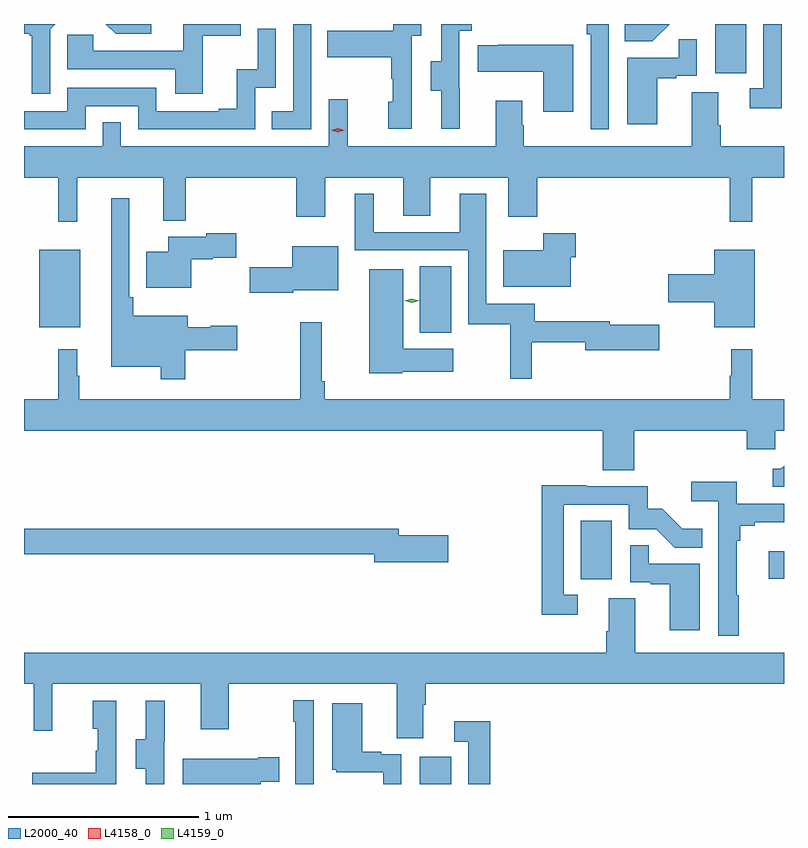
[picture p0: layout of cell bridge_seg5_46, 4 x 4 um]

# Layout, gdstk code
import gdstk
lib = gdstk.Library(unit=1e-6, precision=1e-09)
def R(c, l, rs):  # rectangles x0, y0, x1, y1
    for r in rs: c.add(gdstk.rectangle(r[:2], r[2:], *l))
def P(c, l, *ps):  # polygons
    for p in ps: c.add(gdstk.Polygon(p, *l))
L2000_40 = (2000, 40)
L4158_0 = (4158, 0)
L4159_0 = (4159, 0)

bridge_seg5_46 = lib.new_cell('bridge_seg5_46')
R(bridge_seg5_46, L2000_40, [(855.338,842.912,855.502,843.055), (856.184,843.99,856.348,844.297), (857.175,843.991,857.254,844.138), (855.338,845.288,855.502,845.636), (853.334,845.315,853.549,845.725), (856.892,846.654,857.056,846.912)])
P(bridge_seg5_46, L2000_40, [(857.241,846.912),(857.145,846.912),(857.145,846.573),(857.073,846.573),(857.073,846.468),(857.241,846.468)],
  [(853.392,846.885),(853.419,846.912),(853.254,846.912),(853.254,846.86),(853.284,846.86),(853.284,846.849),(853.295,846.849),(853.295,846.546),(853.392,846.546)],
  [(853.924,846.912),(853.685,846.912),(853.736,846.861),(853.924,846.861)],
  [(855.294,846.851),(855.346,846.851),(855.346,846.912),(855.198,846.912),(855.198,846.877),(854.851,846.877),(854.851,846.737),(855.186,846.737),(855.186,846.623),(855.196,846.623),(855.196,846.504),(855.17,846.504),(855.17,846.36),(855.294,846.36)],
  [(856.653,846.912),(856.417,846.912),(856.417,846.82),(856.561,846.82)],
  [(854.195,846.849),(854.394,846.849),(854.394,846.912),(854.093,846.912),(854.093,846.771),(853.619,846.771),(853.619,846.855),(853.482,846.855),(853.482,846.675),(854.051,846.675),(854.051,846.546),(854.195,846.546)],
  [(855.548,846.573),(855.546,846.573),(855.546,846.877),(855.61,846.877),(855.61,846.912),(855.45,846.912),(855.45,846.717),(855.395,846.717),(855.395,846.562),(855.449,846.562),(855.449,846.36),(855.548,846.36)],
  [(854.766,846.912),(854.67,846.912),(854.67,846.453),(854.557,846.453),(854.557,846.357),(854.766,846.357)],
  [(856.332,846.912),(856.216,846.912),(856.216,846.857),(856.236,846.857),(856.236,846.357),(856.332,846.357)],
  [(853.578,846.48),(853.854,846.48),(853.854,846.357),(854.472,846.357),(854.472,846.576),(854.58,846.576),(854.58,846.886),(854.484,846.886),(854.484,846.674),(854.375,846.674),(854.375,846.466),(854.279,846.466),(854.279,846.453),(853.95,846.453),(853.95,846.576),(853.482,846.576),(853.482,846.453),(853.254,846.453),(853.254,846.357),(853.578,846.357)],
  [(856.588,846.627),(856.688,846.627),(856.688,846.639),(856.794,846.639),(856.794,846.833),(856.699,846.833),(856.699,846.735),(856.43,846.735),(856.43,846.384),(856.588,846.384)],
  [(856.144,846.802),(855.751,846.802),(855.751,846.799),(855.643,846.799),(855.643,846.662),(855.986,846.662),(855.986,846.45),(856.144,846.45)],
  [(853.535,846.104),(853.988,846.104),(853.988,845.876),(854.105,845.876),(854.105,846.104),(854.687,846.104),(854.687,845.898),(854.839,845.898),(854.839,846.104),(855.251,846.104),(855.251,845.902),(855.391,845.902),(855.391,846.104),(855.803,846.104),(855.803,845.898),(855.956,845.898),(855.956,846.104),(856.969,846.104),(856.969,845.871),(857.087,845.871),(857.087,846.104),(857.254,846.104),(857.254,846.268),(856.922,846.268),(856.922,846.38),(856.909,846.38),(856.909,846.554),(856.769,846.554),(856.769,846.268),(855.885,846.268),(855.885,846.38),(855.877,846.38),(855.877,846.508),(855.737,846.508),(855.737,846.268),(854.957,846.268),(854.957,846.517),(854.859,846.517),(854.859,846.268),(853.764,846.268),(853.764,846.395),(853.668,846.395),(853.668,846.268),(853.254,846.268),(853.254,846.104),(853.435,846.104),(853.435,845.871),(853.535,845.871)],
  [(855.926,845.238),(856.208,845.238),(856.208,845.195),(856.597,845.195),(856.597,845.33),(856.336,845.33),(856.336,845.348),(855.941,845.348),(855.941,845.439),(855.687,845.439),(855.687,846.019),(855.548,846.019),(855.548,845.817),(855.094,845.817),(855.094,846.019),(854.996,846.019),(854.996,845.721),(855.591,845.721),(855.591,845.331),(855.813,845.331),(855.813,845.046),(855.926,845.046)],
  [(854.102,845.195),(854.377,845.195),(854.377,845.325),(854.238,845.325),(854.238,845.317),(854.116,845.317),(854.116,845.377),(853.829,845.377),(853.829,845.473),(853.809,845.473),(853.809,845.995),(853.712,845.995),(853.712,845.108),(853.974,845.108),(853.974,845.043),(854.102,845.043)],
  [(854.134,845.674),(854.247,845.674),(854.247,845.681),(854.371,845.681),(854.371,845.811),(854.214,845.811),(854.214,845.791),(854.012,845.791),(854.012,845.713),(853.898,845.713),(853.898,845.525),(854.134,845.525)],
  [(856.132,845.685),(856.157,845.685),(856.157,845.811),(855.986,845.811),(855.986,845.722),(855.776,845.722),(855.776,845.528),(856.132,845.528)],
  [(854.67,845.51),(854.908,845.51),(854.908,845.743),(854.666,845.743),(854.666,845.632),(854.441,845.632),(854.441,845.498),(854.67,845.498)],
  [(857.101,845.725),(856.886,845.725),(856.886,845.594),(856.644,845.594),(856.644,845.447),(856.886,845.447),(856.886,845.315),(857.101,845.315)],
  [(855.246,845.081),(855.514,845.081),(855.514,845.203),(855.25,845.203),(855.25,845.62),(855.071,845.62),(855.071,845.075),(855.246,845.075)],
  [(856.466,844.772),(857.057,844.772),(857.057,844.674),(857.208,844.674),(857.208,844.772),(857.254,844.772),(857.254,844.936),(857.086,844.936),(857.086,845.2),(856.977,845.2),(856.977,845.06),(856.969,845.06),(856.969,844.936),(854.837,844.936),(854.837,845.032),(854.82,845.032),(854.82,845.341),(854.709,845.341),(854.709,844.936),(853.546,844.936),(853.546,845.06),(853.534,845.06),(853.534,845.2),(853.435,845.2),(853.435,844.936),(853.254,844.936),(853.254,844.772),(856.301,844.772),(856.301,844.564),(856.466,844.564)],
  [(857.254,844.588),(857.238,844.572),(857.195,844.572),(857.195,844.476),(857.254,844.476)],
  [(857.017,843.905),(857.005,843.905),(857.005,844.193),(857.024,844.193),(857.024,844.27),(857.101,844.27),(857.101,844.289),(857.254,844.289),(857.254,844.386),(857.006,844.386),(857.006,844.502),(856.767,844.502),(856.767,844.4),(856.908,844.4),(856.908,843.693),(857.017,843.693)],
  [(856.168,843.909),(856.095,843.909),(856.095,844.383),(856.437,844.383),(856.437,844.254),(856.581,844.254),(856.679,844.156),(856.823,844.156),(856.823,844.255),(856.719,844.255),(856.612,844.362),(856.536,844.362),(856.536,844.479),(856.217,844.479),(856.217,844.484),(855.979,844.484),(855.979,843.804),(856.168,843.804)],
  [(855.487,844.22),(855.226,844.22),(855.226,844.256),(853.254,844.256),(853.254,844.12),(855.098,844.12),(855.098,844.078),(855.487,844.078)],
  [(856.81,844.071),(856.541,844.071),(856.541,844.169),(856.446,844.169),(856.446,843.975),(856.553,843.975),(856.553,843.963),(856.652,843.963),(856.652,843.72),(856.81,843.72)],
  [(855.355,843.328),(855.368,843.328),(855.368,843.44),(857.254,843.44),(857.254,843.604),(856.471,843.604),(856.471,843.89),(856.331,843.89),(856.331,843.716),(856.319,843.716),(856.319,843.604),(853.254,843.604),(853.254,843.44),(853.305,843.44),(853.305,843.192),(853.403,843.192),(853.403,843.44),(854.183,843.44),(854.183,843.201),(854.331,843.201),(854.331,843.44),(855.215,843.44),(855.215,843.154),(855.355,843.154)],
  [(854.778,843.352),(854.67,843.352),(854.67,843.239),(854.682,843.239),(854.682,842.912),(854.778,842.912)],
  [(853.992,843.135),(853.994,843.135),(853.994,843.349),(853.895,843.349),(853.895,843.147),(853.841,843.147),(853.841,842.992),(853.896,842.992),(853.896,842.912),(853.992,842.912)],
  [(853.74,843.349),(853.616,843.349),(853.616,843.204),(853.642,843.204),(853.642,843.086),(853.632,843.086),(853.632,842.971),(853.297,842.971),(853.297,842.912),(853.74,842.912)],
  [(855.24,843.069),(855.134,843.069),(855.134,843.082),(855.034,843.082),(855.034,843.337),(854.876,843.337),(854.876,842.988),(854.898,842.988),(854.898,842.973),(855.145,842.973),(855.145,842.912),(855.24,842.912)],
  [(855.707,843.241),(855.519,843.241),(855.519,843.135),(855.591,843.135),(855.591,842.912),(855.707,842.912)],
  [(854.499,842.924),(854.597,842.924),(854.597,843.054),(854.486,843.054),(854.486,843.046),(854.089,843.046),(854.089,842.912),(854.499,842.912)])
P(bridge_seg5_46, L4158_0, [(854.906,846.343),(854.87,846.352),(854.87,846.353),(854.87,846.353),(854.906,846.363),(854.942,846.353),(854.942,846.353),(854.942,846.352)])
P(bridge_seg5_46, L4159_0, [(855.294,845.446),(855.255,845.455),(855.254,845.455),(855.255,845.455),(855.294,845.465),(855.334,845.456),(855.334,845.456),(855.334,845.456)])

lib.write_gds('bridge_seg5_46.gds')
